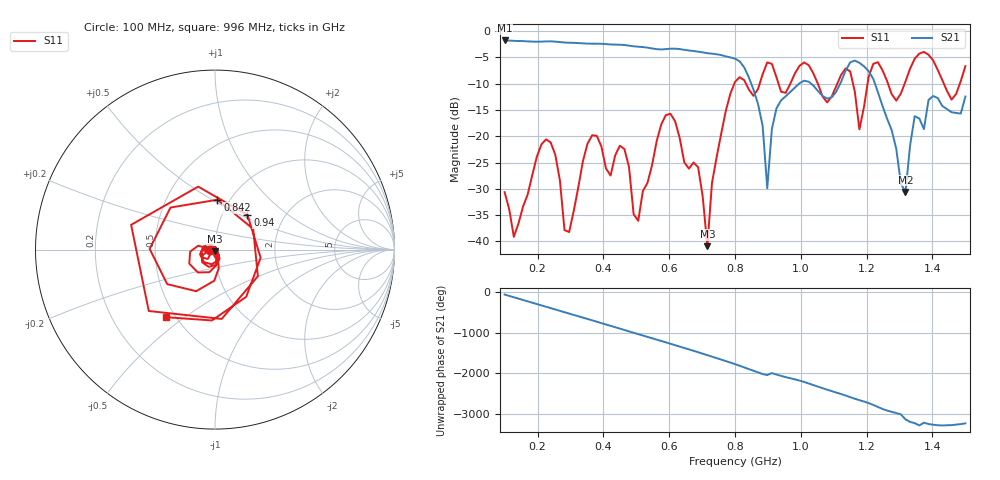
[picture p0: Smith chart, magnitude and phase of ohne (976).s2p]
! NanoVNA-App
! Date: 2025-09-25 14:28:24
! Start: 100MHz Stop: 1,5GHz Points: 101
! S-Parameter data: F S11 S21 S12 S22
# Hz S RI R 50
!  Frequency  S11_Real  S11_Imag  S21_Real  S21_Imag  S12_Real  S12_Imag  S22_Real  S22_Imag
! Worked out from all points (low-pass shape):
!   101 points, 100 MHz to 1.5 GHz, reference 50 ohm
!   highest |S21| = -1.79 dB at 100 MHz (marker M1); lowest = -30.6 dB at 1.318 GHz (marker M2)
!   |S21| within 3 dB of the highest: start of sweep to 770.8 MHz
!   lowest |S11| = -40.9 dB at 716 MHz (marker M3), VSWR 1.02, Z = 49.7 - j0.859 ohm
!   |S11| at or under -10 dB: start of sweep to 797.9 MHz; 833.2 MHz to 875.1 MHz (41.91 MHz wide, 4.91 % of centre); 1.052 GHz to 1.111 GHz (59.27 MHz wide, 5.48 % of centre) (the widest 3 of 7)
!   S12 and S22 are empty: the file has one direction only
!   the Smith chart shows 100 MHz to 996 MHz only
!   S11 on the Smith chart (normalised r, x): 100 MHz: 0.94, -0.01; 842 MHz: 0.88, +0.53; 940 MHz: 1.31, +0.55; 996 MHz: 0.44, -0.43
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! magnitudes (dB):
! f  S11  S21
! 100 MHz  -30.6  -1.8
! 128 MHz  -39.1  -1.9
! 226 MHz  -20.6  -2.0
! 296 MHz  -38.2  -2.2
! 338 MHz  -24.7  -2.3
! 464 MHz  -22.4  -2.7
! 506 MHz  -36.1  -3.0
! 576 MHz  -17.7  -3.5
! 688 MHz  -25.9  -3.9
! 716 MHz  -40.9  -4.2
! 800 MHz  -9.7  -5.2
! 842 MHz  -11.1  -8.8
! 898 MHz  -6.0  -29.9
! 940 MHz  -11.5  -13.2
! 996 MHz  -6.6  -9.9
! 1.038 GHz  -8.0  -10.4
! 1.178 GHz  -18.7  -6.0
! 1.22 GHz  -6.3  -9.1
! 1.276 GHz  -12.0  -18.8
! 1.318 GHz  -9.6  -30.6
! 1.346 GHz  -5.3  -16.2
! 1.5 GHz  -6.7  -12.5
